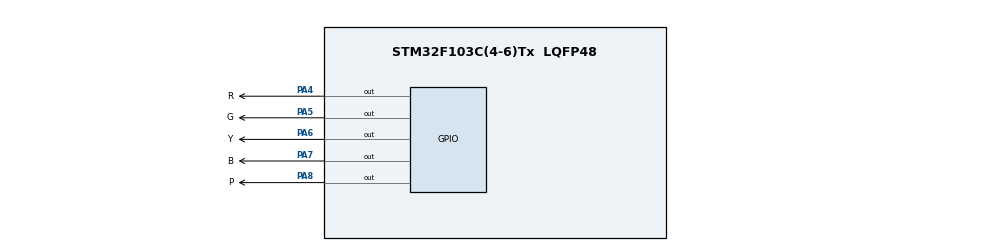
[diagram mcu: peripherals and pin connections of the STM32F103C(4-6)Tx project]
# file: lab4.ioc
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Mcu.Family=STM32F1
Mcu.Name=STM32F103C(4-6)Tx
Mcu.Package=LQFP48
NVIC.PriorityGroup=NVIC_PRIORITYGROUP_4
NVIC.TIM2_IRQn=true\:0\:0\:false\:false\:true\:true\:true
PA4.GPIO_Label=R
PA4.Signal=GPIO_Output
PA5.GPIO_Label=G
PA5.Signal=GPIO_Output
PA6.GPIO_Label=Y
PA6.Signal=GPIO_Output
PA7.GPIO_Label=B
PA7.Signal=GPIO_Output
PA8.GPIO_Label=P
PA8.Signal=GPIO_Output
ProjectManager.HeapSize=0x200
ProjectManager.StackSize=0x400
ProjectManager.TargetToolchain=STM32CubeIDE
RCC.APB1Freq_Value=8000000
RCC.APB2Freq_Value=8000000
TIM2.Period=9
TIM2.Prescaler=7999
VP_SYS_VS_ND.Mode=No_Debug
VP_TIM2_VS_ClockSourceINT.Mode=Internal
board=custom

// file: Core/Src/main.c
/* USER CODE BEGIN Header */
/**
  ******************************************************************************
  * @file           : main.c
  * @brief          : Main program body
  ******************************************************************************
  * @attention
  *
  * <h2><center>&copy; Copyright (c) 2024 STMicroelectronics.
  * All rights reserved.</center></h2>
  *
  * This software component is licensed by ST under BSD 3-Clause license,
  * the "License"; You may not use this file except in compliance with the
  * License. You may obtain a copy of the License at:
  *                        opensource.org/licenses/BSD-3-Clause
  *
  ******************************************************************************
  */
/* USER CODE END Header */
#include "main.h"

TIM_HandleTypeDef htim2;

void SystemClock_Config(void);
static void MX_GPIO_Init(void);
static void MX_TIM2_Init(void);

/* USER CODE BEGIN 0 */
void toggleRed() {
	HAL_GPIO_TogglePin(GPIOA, R_Pin);
}

void toggleGreen() {
	HAL_GPIO_TogglePin(GPIOA, G_Pin);
}

void toggleYellow() {
	HAL_GPIO_TogglePin(GPIOA, Y_Pin);
}

void toggleBlue() {
	HAL_GPIO_TogglePin(GPIOA, B_Pin);
}

void togglePink() {
	HAL_GPIO_TogglePin(GPIOA, P_Pin);
}
/* USER CODE END 0 */

int main(void)
{

  /* MCU Configuration--------------------------------------------------------*/

  /* Reset of all peripherals, Initializes the Flash interface and the Systick. */
  HAL_Init();

  /* Configure the system clock */
  SystemClock_Config();

  /* Initialize all configured peripherals */
  MX_GPIO_Init();
  MX_TIM2_Init();

  HAL_TIM_Base_Start_IT(&htim2);
  /* Infinite loop */
  /* USER CODE BEGIN WHILE */
    SCH_Add_Task(toggleRed, 100, 0);
  	SCH_Add_Task(toggleGreen,1000, 0);
  	SCH_Add_Task(toggleYellow, 200, 0);
  	SCH_Add_Task(toggleBlue, 500, 0);
  	SCH_Add_Task(togglePink, 400, 0);
  	while (1) {
  		SCH_Dispatch_Task();
  		/* USER CODE END WHILE */

  	}
  }

void SystemClock_Config(void)
{
  RCC_OscInitTypeDef RCC_OscInitStruct = {0};
  RCC_ClkInitTypeDef RCC_ClkInitStruct = {0};

  /** Initializes the RCC Oscillators according to the specified parameters
  * in the RCC_OscInitTypeDef structure.
  */
  RCC_OscInitStruct.OscillatorType = RCC_OSCILLATORTYPE_HSI;
  RCC_OscInitStruct.HSIState = RCC_HSI_ON;
  RCC_OscInitStruct.HSICalibrationValue = RCC_HSICALIBRATION_DEFAULT;
  RCC_OscInitStruct.PLL.PLLState = RCC_PLL_NONE;
  if (HAL_RCC_OscConfig(&RCC_OscInitStruct) != HAL_OK)
  {
    Error_Handler();
  }
  /** Initializes the CPU, AHB and APB buses clocks
  */
  RCC_ClkInitStruct.ClockType = RCC_CLOCKTYPE_HCLK|RCC_CLOCKTYPE_SYSCLK
                              |RCC_CLOCKTYPE_PCLK1|RCC_CLOCKTYPE_PCLK2;
  RCC_ClkInitStruct.SYSCLKSource = RCC_SYSCLKSOURCE_HSI;
  RCC_ClkInitStruct.AHBCLKDivider = RCC_SYSCLK_DIV1;
  RCC_ClkInitStruct.APB1CLKDivider = RCC_HCLK_DIV1;
  RCC_ClkInitStruct.APB2CLKDivider = RCC_HCLK_DIV1;

  if (HAL_RCC_ClockConfig(&RCC_ClkInitStruct, FLASH_LATENCY_0) != HAL_OK)
  {
    Error_Handler();
  }
}

static void MX_TIM2_Init(void)
{

  TIM_ClockConfigTypeDef sClockSourceConfig = {0};
  TIM_MasterConfigTypeDef sMasterConfig = {0};

  htim2.Instance = TIM2;
  htim2.Init.Prescaler = 7999;
  htim2.Init.CounterMode = TIM_COUNTERMODE_UP;
  htim2.Init.Period = 9;
  htim2.Init.ClockDivision = TIM_CLOCKDIVISION_DIV1;
  htim2.Init.AutoReloadPreload = TIM_AUTORELOAD_PRELOAD_DISABLE;
  if (HAL_TIM_Base_Init(&htim2) != HAL_OK)
  {
    Error_Handler();
  }
  sClockSourceConfig.ClockSource = TIM_CLOCKSOURCE_INTERNAL;
  if (HAL_TIM_ConfigClockSource(&htim2, &sClockSourceConfig) != HAL_OK)
  {
    Error_Handler();
  }
  sMasterConfig.MasterOutputTrigger = TIM_TRGO_RESET;
  sMasterConfig.MasterSlaveMode = TIM_MASTERSLAVEMODE_DISABLE;
  if (HAL_TIMEx_MasterConfigSynchronization(&htim2, &sMasterConfig) != HAL_OK)
  {
    Error_Handler();
  }

}

static void MX_GPIO_Init(void)
{
  GPIO_InitTypeDef GPIO_InitStruct = {0};

  /* GPIO Ports Clock Enable */
  __HAL_RCC_GPIOA_CLK_ENABLE();

  /*Configure GPIO pin Output Level */
  HAL_GPIO_WritePin(GPIOA, R_Pin|G_Pin|Y_Pin|B_Pin
                          |P_Pin, GPIO_PIN_RESET);

  /*Configure GPIO pins : R_Pin G_Pin Y_Pin B_Pin
                           P_Pin */
  GPIO_InitStruct.Pin = R_Pin|G_Pin|Y_Pin|B_Pin
                          |P_Pin;
  GPIO_InitStruct.Mode = GPIO_MODE_OUTPUT_PP;
  GPIO_InitStruct.Pull = GPIO_NOPULL;
  GPIO_InitStruct.Speed = GPIO_SPEED_FREQ_LOW;
  HAL_GPIO_Init(GPIOA, &GPIO_InitStruct);

}

/* USER CODE BEGIN 4 */
void HAL_TIM_PeriodElapsedCallback(TIM_HandleTypeDef *htim) {
	SCH_Update();
}
/* USER CODE END 4 */

void Error_Handler(void)
{
  __disable_irq();
  while (1)
  {
  }
}

/************************ (C) COPYRIGHT STMicroelectronics *****END OF FILE****/
